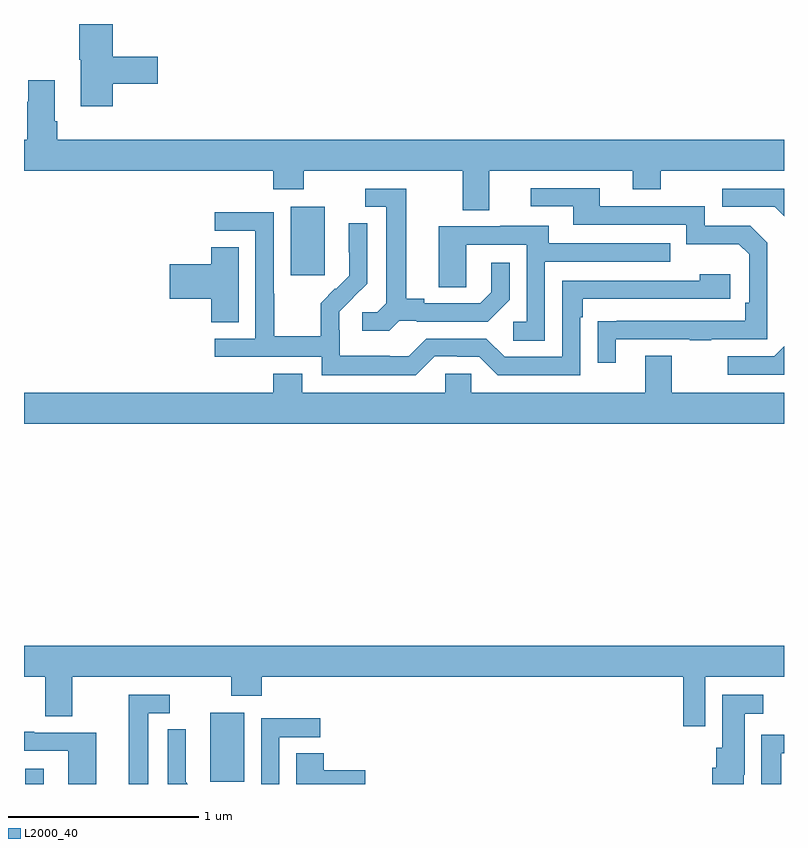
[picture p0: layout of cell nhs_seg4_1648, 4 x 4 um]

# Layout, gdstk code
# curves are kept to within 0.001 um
import gdstk
lib = gdstk.Library(unit=1e-6, precision=1e-09)
def R(c, l, rs):  # rectangles x0, y0, x1, y1
    for r in rs: c.add(gdstk.rectangle(r[:2], r[2:], *l))
def P(c, l, *ps):  # polygons
    for p in ps: c.add(gdstk.Polygon(p, *l))
L2000_40 = (2000, 40)

nhs_seg4_1648 = lib.new_cell('nhs_seg4_1648')
R(nhs_seg4_1648, L2000_40, [(195.006,818.9,195.103,818.98), (195.98,818.913,196.159,819.274), (196.403,821.577,196.582,821.938)])
P(nhs_seg4_1648, L2000_40, [(195.467,822.586),(195.703,822.586),(195.703,822.728),(195.467,822.728),(195.467,822.9),(195.292,822.9),(195.292,822.711),(195.299,822.711),(195.299,822.468),(195.467,822.468)],
  [(195.176,822.388),(195.163,822.388),(195.163,822.604),(195.023,822.604),(195.023,822.491),(195.016,822.491),(195.016,822.292),(195,822.292),(195,822.128),(196.313,822.128),(196.313,822.029),(196.473,822.029),(196.473,822.128),(197.309,822.128),(197.309,821.92),(197.449,821.92),(197.449,822.128),(198.203,822.128),(198.203,822.029),(198.351,822.029),(198.351,822.128),(199,822.128),(199,822.292),(195.176,822.292)],
  [(198.115,821.241),(198.505,821.241),(198.505,821.236),(198.617,821.236),(198.617,821.241),(198.912,821.241),(198.912,821.748),(198.822,821.838),(198.582,821.838),(198.582,821.94),(198.031,821.94),(198.031,822.036),(197.667,822.036),(197.667,821.94),(197.891,821.94),(197.891,821.844),(198.486,821.844),(198.486,821.741),(198.763,821.741),(198.816,821.688),(198.816,821.434),(198.796,821.434),(198.796,821.337),(198.019,821.336),(198.019,821.118),(198.115,821.118)],
  [(199,822.033),(198.675,822.033),(198.675,821.937),(198.951,821.937),(199,821.888)],
  [(196.974,821.337),(197.068,821.337),(197.068,821.334),(197.44,821.334),(197.556,821.45),(197.556,821.644),(197.459,821.644),(197.459,821.487),(197.402,821.43),(197.107,821.43),(197.107,821.453),(197.011,821.453),(197.011,822.033),(196.797,822.033),(196.797,821.937),(196.907,821.937),(196.907,821.429),(196.86,821.382),(196.779,821.382),(196.779,821.285),(196.922,821.285)],
  [(197.163,821.151),(197.279,821.151),(197.279,821.148),(197.397,821.148),(197.493,821.052),(197.928,821.052),(197.928,821.357),(197.941,821.357),(197.941,821.454),(198.718,821.454),(198.718,821.584),(198.557,821.584),(198.557,821.55),(197.832,821.55),(197.832,821.148),(197.529,821.148),(197.433,821.244),(197.118,821.244),(197.025,821.151),(196.925,821.151),(196.925,821.155),(196.662,821.155),(196.662,821.289),(196.66,821.289),(196.66,821.386),(196.806,821.534),(196.806,821.852),(196.71,821.852),(196.71,821.698),(196.712,821.698),(196.712,821.576),(196.641,821.505),(196.638,821.508),(196.561,821.431),(196.561,821.257),(196.317,821.257),(196.317,821.48),(196.314,821.48),(196.314,821.91),(196.005,821.91),(196.005,821.811),(196.218,821.811),(196.218,821.244),(196.005,821.244),(196.005,821.148),(196.566,821.148),(196.566,821.051),(197.063,821.051)],
  [(197.742,821.649),(198.401,821.649),(198.401,821.745),(197.761,821.745),(197.761,821.839),(197.507,821.839),(197.507,821.835),(197.183,821.835),(197.183,821.515),(197.328,821.515),(197.328,821.739),(197.646,821.739),(197.646,821.334),(197.574,821.334),(197.574,821.233),(197.742,821.233)],
  [(196.129,821.726),(195.986,821.726),(195.986,821.636),(195.768,821.636),(195.768,821.453),(195.986,821.453),(195.986,821.329),(196.129,821.329)],
  [(199,821.203),(198.948,821.151),(198.705,821.151),(198.705,821.055),(199,821.055)],
  [(199,820.96),(198.409,820.96),(198.409,821.155),(198.269,821.155),(198.269,820.96),(197.355,820.96),(197.355,821.058),(197.217,821.058),(197.217,820.96),(196.465,820.96),(196.465,821.059),(196.313,821.059),(196.313,820.96),(195,820.96),(195,820.796),(199,820.796)],
  [(198.585,819.464),(199,819.464),(199,819.628),(195,819.628),(195,819.464),(195.113,819.464),(195.113,819.256),(195.253,819.256),(195.253,819.464),(196.09,819.464),(196.09,819.365),(196.25,819.365),(196.25,819.464),(198.469,819.464),(198.469,819.204),(198.585,819.204)],
  [(198.789,818.95),(198.793,818.95),(198.793,819.269),(198.892,819.269),(198.892,819.37),(198.674,819.37),(198.674,819.09),(198.644,819.09),(198.644,818.985),(198.623,818.985),(198.623,818.9),(198.789,818.9)],
  [(195.655,819.273),(195.766,819.273),(195.766,819.369),(195.551,819.369),(195.551,818.9),(195.655,818.9)],
  [(196.344,819.147),(196.558,819.147),(196.558,819.246),(196.248,819.246),(196.248,818.9),(196.344,818.9)],
  [(195.851,818.912),(195.851,819.034),(195.852,819.034),(195.852,819.188),(195.756,819.188),(195.756,818.9),(195.863,818.9)],
  [(195.379,819.171),(195.055,819.171),(195.055,819.175),(195,819.175),(195,819.075),(195.234,819.075),(195.234,818.9),(195.379,818.9)],
  [(198.985,819.063),(199,819.063),(199,819.159),(198.881,819.159),(198.881,818.9),(198.985,818.9)],
  [(196.795,818.972),(196.577,818.972),(196.577,819.062),(196.433,819.062),(196.433,818.9),(196.795,818.9)])

lib.write_gds('nhs_seg4_1648.gds')
